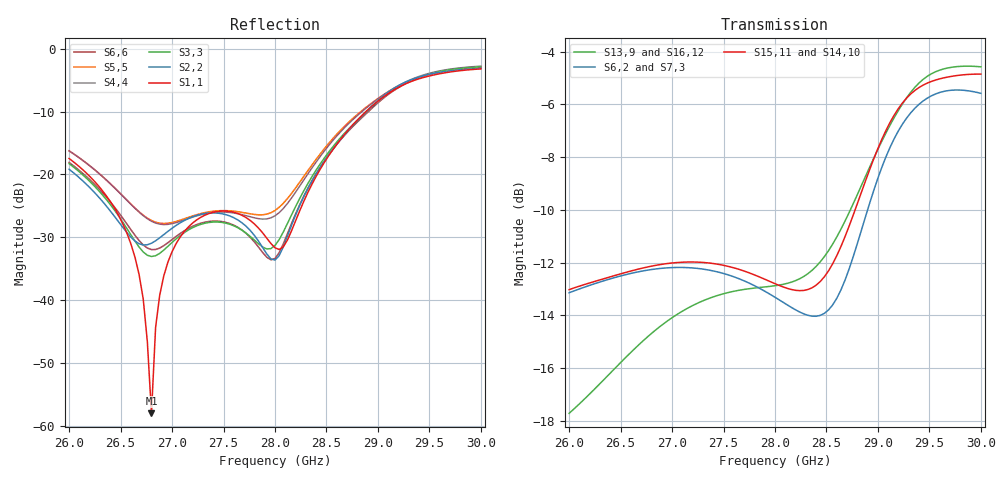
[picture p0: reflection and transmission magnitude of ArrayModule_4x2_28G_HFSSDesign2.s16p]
! Touchstone file exported from HFSS 2020.1.0
!  File:  D:/demo/ArrayModule_4x2_28G.aedt
!  Generated:  9:04:53 AM  Jun 01, 2020
!  Design:  HFSSDesign2
!  Project:  ArrayModule_4x2_28G
!  Setup:  Setup1
!  Solution:  Sweep
! Variables:
!  dang = 90deg
# GHZ S MA R 50.000000
! Terminal data exported
! Port[1] = 4x2_array1_Module_0_Bump_h1
! Port[2] = 4x2_array1_Module_0_Bump_h2
! Port[3] = 4x2_array1_Module_0_Bump_h3
! Port[4] = 4x2_array1_Module_0_Bump_h4
! Port[5] = 4x2_array1_Module_0_Bump_v1
! Port[6] = 4x2_array1_Module_0_Bump_v2
! Port[7] = 4x2_array1_Module_0_Bump_v3
! Port[8] = 4x2_array1_Module_0_Bump_v4
! Port[9] = 4x2_array1_Module_1_Bump_h5
! Port[10] = 4x2_array1_Module_1_Bump_h6
! Port[11] = 4x2_array1_Module_1_Bump_h7
! Port[12] = 4x2_array1_Module_1_Bump_h8
! Port[13] = 4x2_array1_Module_1_Bump_v5
! Port[14] = 4x2_array1_Module_1_Bump_v6
! Port[15] = 4x2_array1_Module_1_Bump_v7
! Port[16] = 4x2_array1_Module_1_Bump_v8
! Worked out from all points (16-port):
!   101 points, 26 GHz to 30 GHz, reference 50 ohm
!   strongest paths, dB at 26 GHz, 27 GHz, 28 GHz, 29 GHz, 30 GHz:
!     S15,11: -13.0, -12.0, -12.8, -7.7, -4.9
!     S14,10: -13.1, -12.1, -12.9, -7.5, -4.8
!     S6,2: -13.1, -12.2, -13.3, -8.8, -5.6
!     S7,3: -13.2, -12.2, -13.4, -9.0, -5.7
!     S13,9: -17.7, -14.1, -12.9, -7.7, -4.6
!     S16,12: -17.7, -14.1, -12.9, -7.6, -4.6
!   lowest |S11| = -58.1 dB at 26.8 GHz (marker M1), VSWR 1.00, Z = 50 + j0.117 ohm
!   |S11| at or under -10 dB: start of sweep to 28.88 GHz
